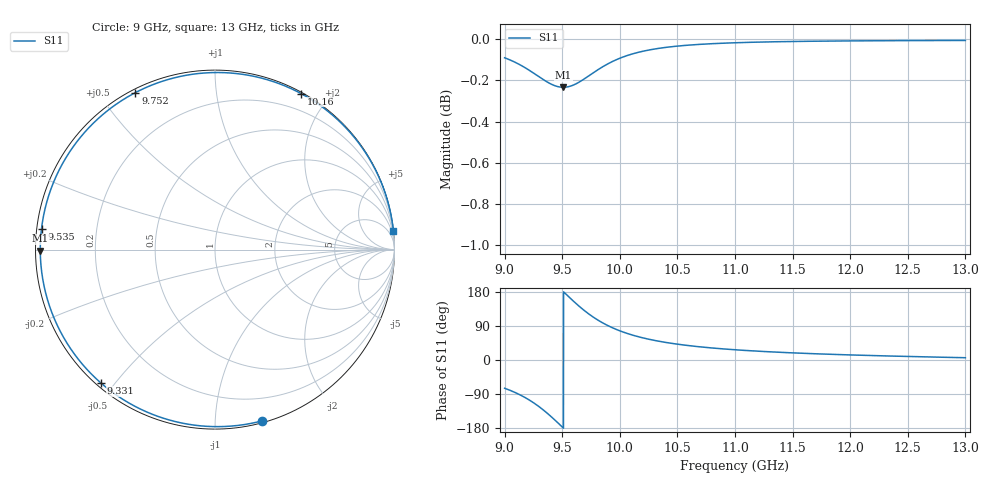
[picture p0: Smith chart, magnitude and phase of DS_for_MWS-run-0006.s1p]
! TOUCHSTONE file generated by CST DESIGN STUDIO
! Date and time: Tue Feb  4 14:24:11 2025
! Project name: C:\Work\MatlabApps\UnitCellOptimizationMatlab\CST\unitcell.cst
! Tree item: Tasks\Sweep1\SPara1\S-Parameters
! Header version: 2024
! Port assignment regex: !\s*Touchstone port\s*([0-9]+)\s*=\s*(CST MWS port|CST DES external port|CST DES block port)\s*(.+)\s* \(\"(.*)\"\)(\s*mode\s*([0-9]+))?.*
! Touchstone port assignment:
! Touchstone port 1 = CST DES external port 1 ("")
# GHz S MA R 50
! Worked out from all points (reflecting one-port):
!   4001 points, 9 GHz to 13 GHz, reference 50 ohm
!   lowest |S11| = -0.2 dB at 9.51 GHz (marker M1), VSWR 74.51, Z = 0.671 - j0.17 ohm
!   phase of S11 starts at -75 deg and turns -279 deg over the sweep
!   S11 on the Smith chart (normalised r, x): 9 GHz: 0.01, -1.31; 9.331 GHz: 0.01, -0.46; 9.535 GHz: 0.01, +0.06; 9.752 GHz: 0.01, +0.61; 10.16 GHz: 0.01, +1.69; 13 GHz: 0, +19
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9  0.9897 -74.5
9.089  0.9873 -85.5
9.192  0.9837 -101.6
9.265  0.9807 -115.7
9.331  0.9779 -130.6
9.377  0.9761 -142.2
9.424  0.9747 -154.9
9.463  0.9739 -166.0
9.5  0.9735 -176.7
9.51  0.9735 -179.6
9.535  0.9736 173.1
9.589  0.9745 157.6
9.649  0.9764 141.3
9.7  0.9784 128.6
9.752  0.9807 116.9
9.804  0.9829 106.4
9.86  0.9851 96.5
10  0.9895 77.0
10.079  0.9913 68.6
10.165  0.9928 61.1
10.317  0.9948 50.8
10.5  0.9962 41.8
10.722  0.9973 33.9
11  0.9981 27.0
11.5  0.9988 18.8
12  0.9991 13.4
12.5  0.9993 9.3
13  0.9994 6.0
